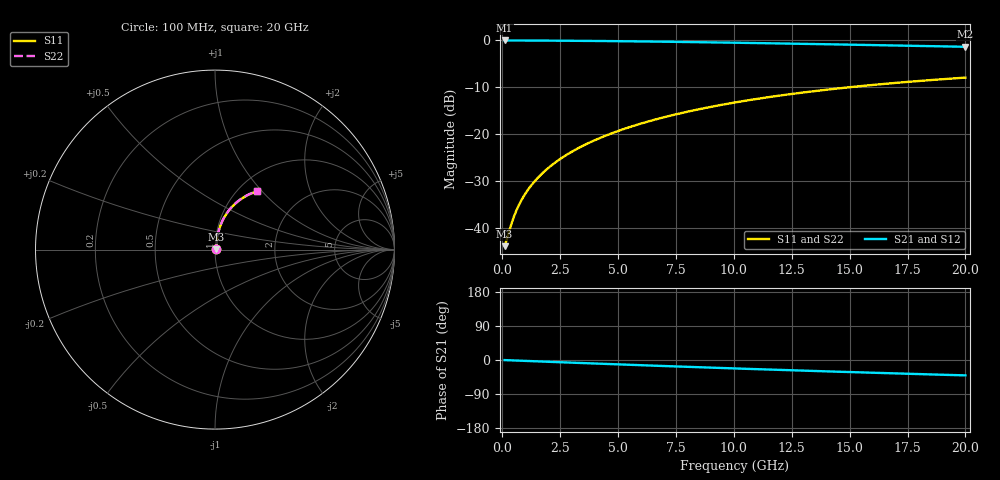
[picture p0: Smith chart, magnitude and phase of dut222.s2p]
! Touchstone file exported from HFSS 2024.1.0
!  File:  C:/UserFiles/LocalFiles/RDL_TSV_Batchsim/temp_RDL_top_222_1778687803.aedt
!  Generated:  11:59:02 PM May 13, 2026
!  Design:  RDL_top
!  Project:  temp_RDL_top_222_1778687803
!  Setup:  Setup1
!  Solution:  Sweep
! Variables:
!  dtsv = 10.80580581um
!  hbump = 3um
!  htsv = 73.64um
!  ldown = 100um
!  lrdl = 559.56um
!  p = 40
!  p1 = 42.03um
!  rhole = 1um
!  t = 450um
!  tdown = 3.915915916um
!  trdl = 2.07um
!  wdown = 15.38538539um
!  wrdl = 16.92um
# GHz S MA R 50.000000
! Terminal data exported
! Port[1] = Box2_T1
! Port[2] = Box2_T2
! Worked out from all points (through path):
!   200 points, 100 MHz to 20 GHz, reference 50 ohm
!   highest |S21| = -0.05 dB at 100 MHz (marker M1); lowest = -1.4 dB at 20 GHz (marker M2)
!   group delay of S21, straight-line fit = 5.63 ps
!   lowest |S11| = -44.0 dB at 100 MHz (marker M3), VSWR 1.01, Z = 50.6 + j0.234 ohm
!   |S11| at or under -10 dB: start of sweep to 15.07 GHz
!   |S22| runs from -44.0 to -8.0 dB; largest |S21 - S12| = 3.4e-15
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0.1  0.006328 21.5  0.9941 -0.2  0.9941 -0.2  0.006328 21.5
! Gamma 0 0 0 0
! Port Impedance 50 0 50 0
0.4  0.01107 55.4  0.9937 -1.0  0.9937 -1.0  0.01107 55.4
0.5  0.01303 60.1  0.9935 -1.2  0.9935 -1.2  0.01303 60.1
0.6  0.01503 63.6  0.9932 -1.5  0.9932 -1.5  0.01503 63.6
0.7  0.01704 66.1  0.993 -1.7  0.993 -1.7  0.01704 66.1
0.9  0.02108 69.7  0.9926 -2.2  0.9926 -2.2  0.02108 69.8
1.2  0.02715 73.1  0.9919 -2.9  0.9919 -2.9  0.02715 73.2
1.4  0.03122 74.7  0.9914 -3.3  0.9914 -3.3  0.03122 74.7
1.7  0.03736 76.3  0.9906 -4.0  0.9906 -4.0  0.03736 76.3
2.2  0.04769 78.0  0.9892 -5.2  0.9892 -5.2  0.0477 78.0
2.8  0.06025 78.9  0.9872 -6.6  0.9872 -6.6  0.06026 79.0
3.5  0.07508 79.3  0.9844 -8.2  0.9844 -8.2  0.07509 79.4
4.2  0.09006 79.2  0.9812 -9.8  0.9812 -9.8  0.09009 79.3
5  0.1073 78.7  0.9769 -11.6  0.9769 -11.6  0.1074 78.8
5.9  0.1269 77.9  0.9714 -13.6  0.9714 -13.6  0.127 77.9
6.8  0.1465 76.7  0.9655 -15.5  0.9655 -15.5  0.1466 76.8
8.4  0.1813 74.4  0.9537 -18.9  0.9537 -18.9  0.1814 74.5
10.1  0.2176 71.6  0.9401 -22.4  0.9401 -22.4  0.2178 71.7
11.7  0.2508 68.8  0.9264 -25.6  0.9264 -25.6  0.2511 68.9
13.4  0.2846 65.8  0.9114 -28.9  0.9114 -28.9  0.285 65.9
16.7  0.3453 59.9  0.8812 -34.9  0.8812 -34.9  0.3458 60.0
20  0.3989 54.3  0.8508 -40.6  0.8508 -40.6  0.3995 54.4
